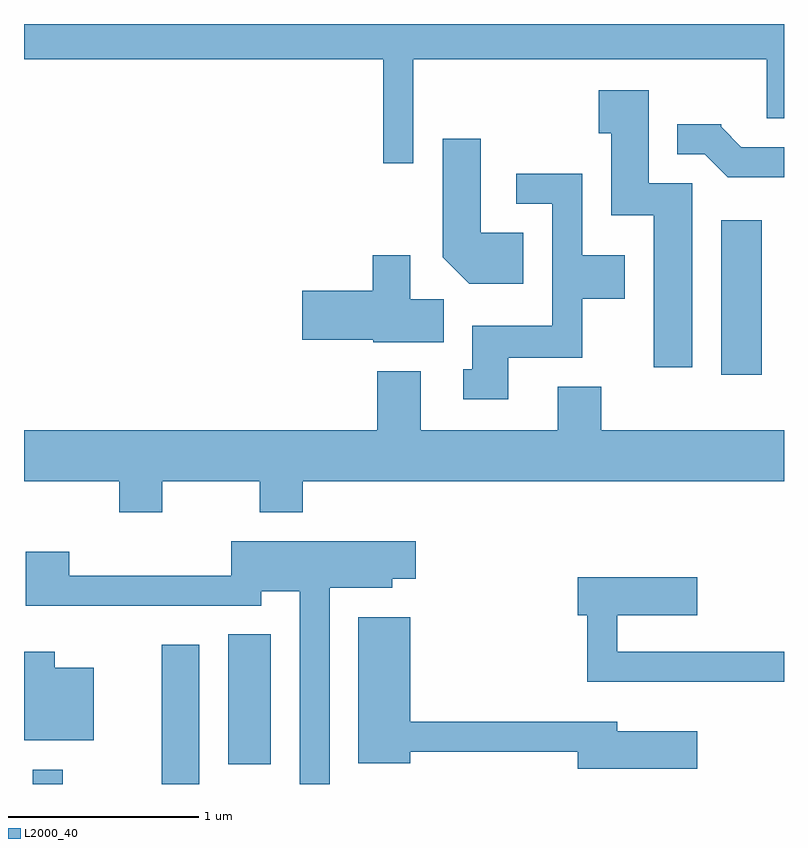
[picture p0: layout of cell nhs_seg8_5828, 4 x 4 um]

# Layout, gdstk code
import gdstk
lib = gdstk.Library(unit=1e-6, precision=1e-09)
def R(c, l, rs):  # rectangles x0, y0, x1, y1
    for r in rs: c.add(gdstk.rectangle(r[:2], r[2:], *l))
def P(c, l, *ps):  # polygons
    for p in ps: c.add(gdstk.Polygon(p, *l))
L2000_40 = (2000, 40)

nhs_seg8_5828 = lib.new_cell('nhs_seg8_5828')
R(nhs_seg8_5828, L2000_40, [(359.656,1870.342,359.814,1870.418), (360.336,1870.342,360.534,1871.074), (360.686,1870.446,360.909,1871.129), (363.281,1872.496,363.494,1873.309)])
P(nhs_seg8_5828, L2000_40, [(361.659,1874.156),(363.521,1874.156),(363.521,1873.846),(363.611,1873.846),(363.611,1874.342),(359.611,1874.342),(359.611,1874.156),(361.501,1874.156),(361.501,1873.608),(361.659,1873.608)],
  [(363.129,1873.504),(362.899,1873.504),(362.899,1873.994),(362.636,1873.994),(362.636,1873.766),(362.701,1873.766),(362.701,1873.336),(362.926,1873.336),(362.926,1872.536),(363.129,1872.536)],
  [(363.611,1873.694),(363.387,1873.694),(363.28,1873.801),(363.28,1873.814),(363.048,1873.814),(363.048,1873.656),(363.194,1873.656),(363.314,1873.536),(363.611,1873.536)],
  [(362.239,1873.244),(362.014,1873.244),(362.014,1873.739),(361.816,1873.739),(361.816,1873.114),(361.954,1872.976),(362.239,1872.976)],
  [(362.159,1872.586),(362.549,1872.586),(362.549,1872.896),(362.774,1872.896),(362.774,1873.124),(362.549,1873.124),(362.549,1873.554),(362.203,1873.554),(362.203,1873.396),(362.391,1873.396),(362.391,1872.754),(361.971,1872.754),(361.971,1872.524),(361.923,1872.524),(361.923,1872.366),(362.159,1872.366)],
  [(361.819,1872.894),(361.644,1872.894),(361.644,1873.124),(361.446,1873.124),(361.446,1872.939),(361.076,1872.939),(361.076,1872.681),(361.45,1872.681),(361.45,1872.666),(361.819,1872.666)],
  [(360.339,1871.936),(360.851,1871.936),(360.851,1871.771),(361.079,1871.771),(361.079,1871.936),(363.611,1871.936),(363.611,1872.204),(362.649,1872.204),(362.649,1872.434),(362.421,1872.434),(362.421,1872.204),(361.699,1872.204),(361.699,1872.514),(361.471,1872.514),(361.471,1872.204),(359.611,1872.204),(359.611,1871.936),(360.111,1871.936),(360.111,1871.771),(360.339,1871.771)],
  [(361.219,1871.376),(361.549,1871.376),(361.549,1871.421),(361.674,1871.421),(361.674,1871.619),(360.701,1871.619),(360.701,1871.439),(359.849,1871.439),(359.849,1871.564),(359.621,1871.564),(359.621,1871.281),(360.859,1871.281),(360.859,1871.356),(361.061,1871.356),(361.061,1870.342),(361.219,1870.342)],
  [(363.611,1871.039),(362.734,1871.039),(362.734,1871.231),(363.154,1871.231),(363.154,1871.429),(362.526,1871.429),(362.526,1871.231),(362.576,1871.231),(362.576,1870.881),(363.611,1870.881)],
  [(363.154,1870.619),(362.734,1870.619),(362.734,1870.669),(361.644,1870.669),(361.644,1871.219),(361.371,1871.219),(361.371,1870.451),(361.644,1870.451),(361.644,1870.511),(362.526,1870.511),(362.526,1870.421),(363.154,1870.421)],
  [(359.979,1870.954),(359.774,1870.954),(359.774,1871.039),(359.611,1871.039),(359.611,1870.571),(359.979,1870.571)])

lib.write_gds('nhs_seg8_5828.gds')
